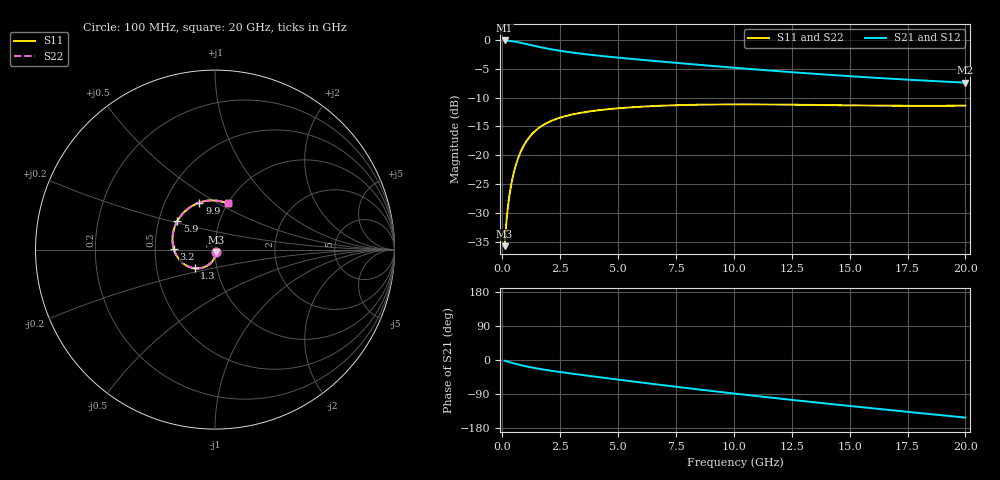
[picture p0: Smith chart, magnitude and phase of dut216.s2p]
! Touchstone file exported from HFSS 2023.1.0
!  File:  D:/Users/fzz/RDL_TSV/temp_RDL_TSV_216_1778757421.aedt
!  Generated:  7:28:00 %x4E0B%x5348  5%x6708 14, 2026
!  Design:  RDL_TSV
!  Project:  temp_RDL_TSV_216_1778757421
!  Setup:  Setup1
!  Solution:  Sweep
! Variables:
!  dtsv = 19.85um
!  hbump = 3um
!  htsv = 94.62um
!  ldown = 196.97um
!  lrdl = 202.31um
!  p = 40
!  p1 = 50.76um
!  rhole = 10um
!  subl = 1400.15um
!  t = 450um
!  tdown = 3.3um
!  trdl = 4.66um
!  viad = 10um
!  wdown = 27.19um
!  wrdl = 13.98um
!  xbump = 18um
# GHz S MA R 50.000000
! Terminal data exported
! Port[1] = TM1_1_T1
! Port[2] = TM1_4_T1
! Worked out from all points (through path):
!   200 points, 100 MHz to 20 GHz, reference 50 ohm
!   highest |S21| = -0.07 dB at 100 MHz (marker M1); lowest = -7.4 dB at 20 GHz (marker M2)
!   group delay of S21, straight-line fit = 19.7 ps
!   lowest |S11| = -35.8 dB at 100 MHz (marker M3), VSWR 1.03, Z = 50.6 - j1.52 ohm
!   |S11| at or under -10 dB: start of sweep to end of sweep
!   |S22| runs from -35.8 to -11.2 dB; largest |S21 - S12| = 6.1e-14
!   S11 on the Smith chart (normalised r, x): 100 MHz: 1.01, -0.03; 1.3 GHz: 0.78, -0.17; 3.2 GHz: 0.63, +0.00; 5.9 GHz: 0.63, +0.21; 9.9 GHz: 0.74, +0.42; 20 GHz: 1.00, +0.56
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0.1  0.01624 -67.3  0.9917 -1.9  0.9917 -1.9  0.01624 -67.3
! Gamma 0 0 0 0
! Port Impedance 50 0 50 0
0.2  0.02988 -84.0  0.9888 -3.7  0.9888 -3.7  0.02988 -84.0
0.3  0.04392 -92.7  0.9842 -5.5  0.9842 -5.5  0.04391 -92.7
0.4  0.05779 -99.2  0.9784 -7.2  0.9784 -7.2  0.05778 -99.2
0.5  0.07124 -104.8  0.9714 -8.9  0.9714 -8.9  0.07124 -104.8
0.6  0.08412 -109.8  0.9635 -10.5  0.9635 -10.5  0.08412 -109.8
0.8  0.1078 -118.9  0.9458 -13.6  0.9458 -13.6  0.1078 -118.9
1  0.1284 -126.9  0.9267 -16.4  0.9267 -16.4  0.1284 -126.9
1.3  0.1539 -137.5  0.8978 -20.1  0.8978 -20.1  0.1538 -137.5
1.7  0.1794 -149.4  0.8622 -24.4  0.8622 -24.4  0.1794 -149.4
2.1  0.1981 -159.4  0.8318 -28.2  0.8318 -28.2  0.1981 -159.4
3.2  0.2297 179.1  0.7702 -37.5  0.7702 -37.5  0.2297 179.1
3.5  0.2355 174.2  0.7571 -40.0  0.7571 -40.0  0.2355 174.2
4.6  0.2513 158.4  0.7166 -48.6  0.7166 -48.6  0.2513 158.4
5.9  0.2632 142.9  0.6767 -58.6  0.6767 -58.6  0.2633 142.9
6.8  0.2687 133.6  0.6519 -65.4  0.6519 -65.4  0.2687 133.5
8.3  0.2741 120.1  0.6139 -76.4  0.6139 -76.4  0.2743 120.1
9.9  0.2762 108.3  0.5773 -87.8  0.5773 -87.8  0.2764 108.3
10.1  0.2763 107.0  0.5729 -89.1  0.5729 -89.1  0.2765 107.0
13.4  0.2734 89.9  0.5104 -111.1  0.5104 -111.1  0.2736 89.8
16.7  0.269 79.6  0.4626 -131.9  0.4626 -131.9  0.2692 79.6
20  0.2694 74.0  0.4266 -152.0  0.4266 -152.0  0.2696 74.0
